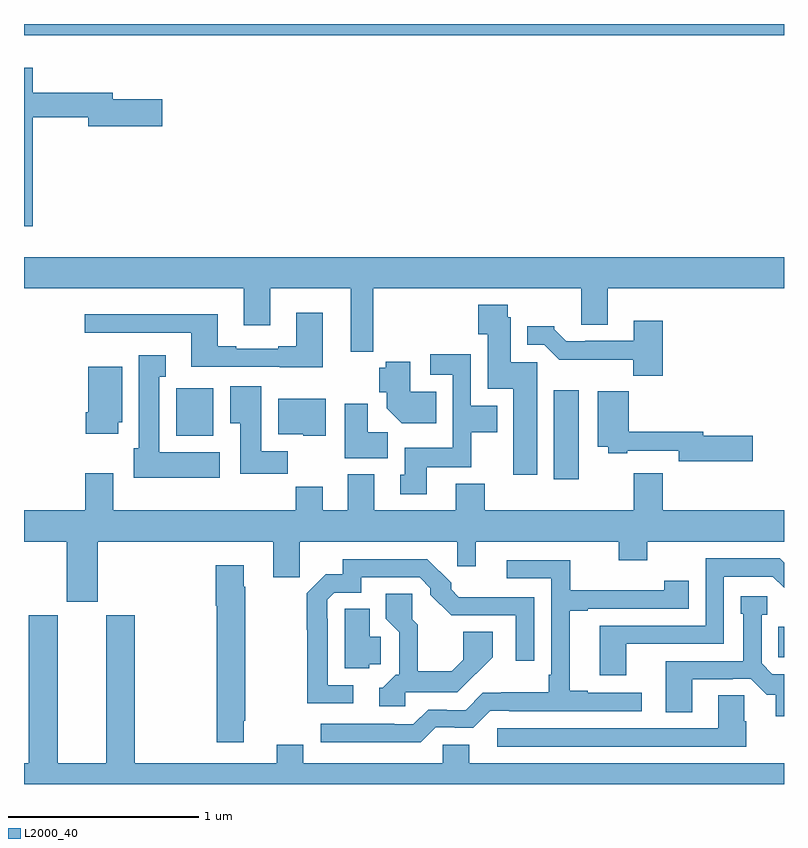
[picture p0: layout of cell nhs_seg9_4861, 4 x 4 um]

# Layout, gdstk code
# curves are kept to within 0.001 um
import gdstk
lib = gdstk.Library(unit=1e-6, precision=1e-09)
def R(c, l, rs):  # rectangles x0, y0, x1, y1
    for r in rs: c.add(gdstk.rectangle(r[:2], r[2:], *l))
def P(c, l, *ps):  # polygons
    for p in ps: c.add(gdstk.Polygon(p, *l))
L2000_40 = (2000, 40)

nhs_seg9_4861 = lib.new_cell('nhs_seg9_4861')
R(nhs_seg9_4861, L2000_40, [(396.971,1173.166,397,1173.327), (395.789,1174.104,395.92,1174.573), (393.801,1174.334,393.997,1174.584), (393,1176.44,397,1176.5)])
P(nhs_seg9_4861, L2000_40, [(393.047,1176.01),(393.338,1176.01),(393.338,1175.963),(393.727,1175.963),(393.727,1176.105),(393.466,1176.105),(393.466,1176.139),(393.047,1176.139),(393.047,1176.271),(393,1176.271),(393,1175.436),(393.047,1175.436)],
  [(394.838,1175.108),(395.933,1175.108),(395.933,1174.918),(396.073,1174.918),(396.073,1175.108),(397,1175.108),(397,1175.272),(393,1175.272),(393,1175.108),(394.157,1175.108),(394.157,1174.914),(394.297,1174.914),(394.297,1175.108),(394.721,1175.108),(394.721,1174.776),(394.838,1174.776)],
  [(395.701,1174.719),(395.563,1174.719),(395.563,1174.956),(395.547,1174.956),(395.547,1175.023),(395.39,1175.023),(395.39,1174.867),(395.441,1174.867),(395.441,1174.58),(395.576,1174.58),(395.576,1174.128),(395.701,1174.128)],
  [(394.573,1174.981),(394.433,1174.981),(394.433,1174.804),(394.337,1174.804),(394.337,1174.791),(394.117,1174.791),(394.117,1174.804),(394.021,1174.804),(394.021,1174.972),(393.321,1174.972),(393.321,1174.875),(393.881,1174.875),(393.881,1174.695),(394.345,1174.695),(394.345,1174.694),(394.573,1174.694)],
  [(396.362,1174.939),(396.209,1174.939),(396.209,1174.833),(395.953,1174.833),(395.953,1174.83),(395.854,1174.83),(395.79,1174.894),(395.79,1174.909),(395.648,1174.909),(395.648,1174.812),(395.739,1174.812),(395.818,1174.734),(396.207,1174.734),(396.207,1174.649),(396.362,1174.649)],
  [(395.119,1174.166),(395.355,1174.166),(395.355,1174.352),(395.491,1174.352),(395.491,1174.492),(395.352,1174.492),(395.352,1174.762),(395.139,1174.762),(395.139,1174.653),(395.256,1174.653),(395.256,1174.27),(395.003,1174.27),(395.003,1174.128),(394.979,1174.128),(394.979,1174.026),(395.119,1174.026)],
  [(394.03,1174.246),(393.712,1174.246),(393.712,1174.643),(393.745,1174.643),(393.745,1174.756),(393.605,1174.756),(393.605,1174.266),(393.578,1174.266),(393.578,1174.112),(394.03,1174.112)],
  [(395.171,1174.564),(395.032,1174.564),(395.032,1174.722),(394.903,1174.722),(394.903,1174.692),(394.871,1174.692),(394.871,1174.562),(394.91,1174.562),(394.91,1174.478),(394.988,1174.4),(395.171,1174.4)],
  [(393.496,1174.404),(393.517,1174.404),(393.517,1174.696),(393.338,1174.696),(393.338,1174.456),(393.326,1174.456),(393.326,1174.344),(393.496,1174.344)],
  [(394.388,1174.252),(394.249,1174.252),(394.249,1174.594),(394.085,1174.594),(394.085,1174.4),(394.139,1174.4),(394.139,1174.134),(394.388,1174.134)],
  [(396.835,1174.334),(396.574,1174.334),(396.574,1174.355),(396.182,1174.355),(396.182,1174.567),(396.02,1174.567),(396.02,1174.274),(396.075,1174.274),(396.075,1174.242),(396.175,1174.242),(396.175,1174.254),(396.446,1174.254),(396.446,1174.199),(396.835,1174.199)],
  [(394.588,1174.528),(394.337,1174.528),(394.337,1174.34),(394.47,1174.34),(394.47,1174.334),(394.588,1174.334)],
  [(394.915,1174.352),(394.81,1174.352),(394.81,1174.501),(394.688,1174.501),(394.688,1174.214),(394.915,1174.214)],
  [(393.388,1173.776),(394.313,1173.776),(394.313,1173.588),(394.451,1173.588),(394.451,1173.776),(395.281,1173.776),(395.281,1173.647),(395.377,1173.647),(395.377,1173.776),(396.131,1173.776),(396.131,1173.677),(396.279,1173.677),(396.279,1173.776),(397,1173.776),(397,1173.94),(396.362,1173.94),(396.362,1174.135),(396.209,1174.135),(396.209,1173.94),(395.426,1173.94),(395.426,1174.081),(395.273,1174.081),(395.273,1173.94),(394.843,1173.94),(394.843,1174.129),(394.703,1174.129),(394.703,1173.94),(394.573,1173.94),(394.573,1174.064),(394.429,1174.064),(394.429,1173.94),(393.469,1173.94),(393.469,1174.135),(393.322,1174.135),(393.322,1173.94),(393,1173.94),(393,1173.776),(393.224,1173.776),(393.224,1173.459),(393.388,1173.459)],
  [(396.169,1173.237),(396.684,1173.237),(396.684,1173.591),(396.942,1173.591),(397,1173.533),(397,1173.665),(396.978,1173.687),(396.588,1173.687),(396.588,1173.333),(396.029,1173.333),(396.029,1173.072),(396.169,1173.072)],
  [(394.732,1173.021),(394.599,1173.021),(394.599,1173.371),(394.596,1173.371),(394.596,1173.471),(394.632,1173.507),(394.776,1173.507),(394.776,1173.588),(395.082,1173.588),(395.139,1173.531),(395.139,1173.497),(395.249,1173.387),(395.589,1173.387),(395.589,1173.15),(395.685,1173.15),(395.685,1173.483),(395.288,1173.484),(395.248,1173.525),(395.248,1173.559),(395.122,1173.684),(394.678,1173.684),(394.678,1173.604),(394.588,1173.604),(394.488,1173.504),(394.488,1173.313),(394.491,1173.313),(394.491,1172.925),(394.732,1172.925)],
  [(395.166,1172.799),(395.267,1172.799),(395.267,1172.796),(395.364,1172.796),(395.454,1172.886),(395.554,1172.886),(395.554,1172.883),(396.25,1172.883),(396.25,1172.979),(395.968,1172.979),(395.968,1172.992),(395.872,1172.992),(395.872,1173.411),(395.968,1173.411),(395.968,1173.423),(396.499,1173.423),(396.499,1173.571),(396.371,1173.571),(396.371,1173.52),(395.876,1173.52),(395.876,1173.678),(395.541,1173.678),(395.541,1173.582),(395.775,1173.582),(395.775,1173.076),(395.763,1173.076),(395.763,1172.983),(395.512,1172.983),(395.512,1172.979),(395.415,1172.979),(395.325,1172.889),(395.225,1172.889),(395.225,1172.892),(395.127,1172.892),(395.049,1172.814),(394.949,1172.814),(394.949,1172.817),(394.563,1172.817),(394.563,1172.721),(395.087,1172.72)],
  [(394.156,1172.833),(394.164,1172.833),(394.164,1173.539),(394.156,1173.539),(394.156,1173.652),(394.01,1173.652),(394.01,1173.439),(394.015,1173.439),(394.015,1172.721),(394.156,1172.721)],
  [(395.007,1172.982),(395.281,1172.982),(395.467,1173.166),(395.467,1173.302),(395.313,1173.302),(395.313,1173.154),(395.251,1173.093),(395.072,1173.093),(395.072,1173.338),(395.043,1173.367),(395.043,1173.502),(394.904,1173.502),(394.904,1173.37),(394.974,1173.3),(394.974,1173.075),(394.956,1173.075),(394.887,1173.006),(394.871,1173.006),(394.871,1172.91),(395.007,1172.91)],
  [(397,1173.078),(396.939,1173.078),(396.882,1173.135),(396.882,1173.391),(396.912,1173.391),(396.912,1173.489),(396.773,1173.489),(396.773,1173.396),(396.786,1173.396),(396.786,1173.147),(396.377,1173.147),(396.377,1172.878),(396.517,1172.878),(396.517,1173.051),(396.731,1173.051),(396.731,1173.054),(396.825,1173.054),(396.909,1172.97),(396.956,1172.97),(396.956,1172.856),(397,1172.856)],
  [(394.818,1173.129),(394.878,1173.129),(394.878,1173.275),(394.819,1173.275),(394.819,1173.422),(394.689,1173.422),(394.689,1173.11),(394.818,1173.11)],
  [(397,1172.608),(395.344,1172.608),(395.344,1172.706),(395.205,1172.706),(395.205,1172.608),(394.471,1172.608),(394.471,1172.707),(394.331,1172.707),(394.331,1172.608),(393.582,1172.608),(393.582,1173.387),(393.434,1173.387),(393.434,1172.608),(393.178,1172.608),(393.178,1173.387),(393.026,1173.387),(393.026,1172.608),(393,1172.608),(393,1172.5),(397,1172.5)],
  [(396.801,1172.829),(396.791,1172.829),(396.791,1172.966),(396.653,1172.966),(396.653,1172.793),(395.49,1172.793),(395.49,1172.697),(396.801,1172.697)])

lib.write_gds('nhs_seg9_4861.gds')
